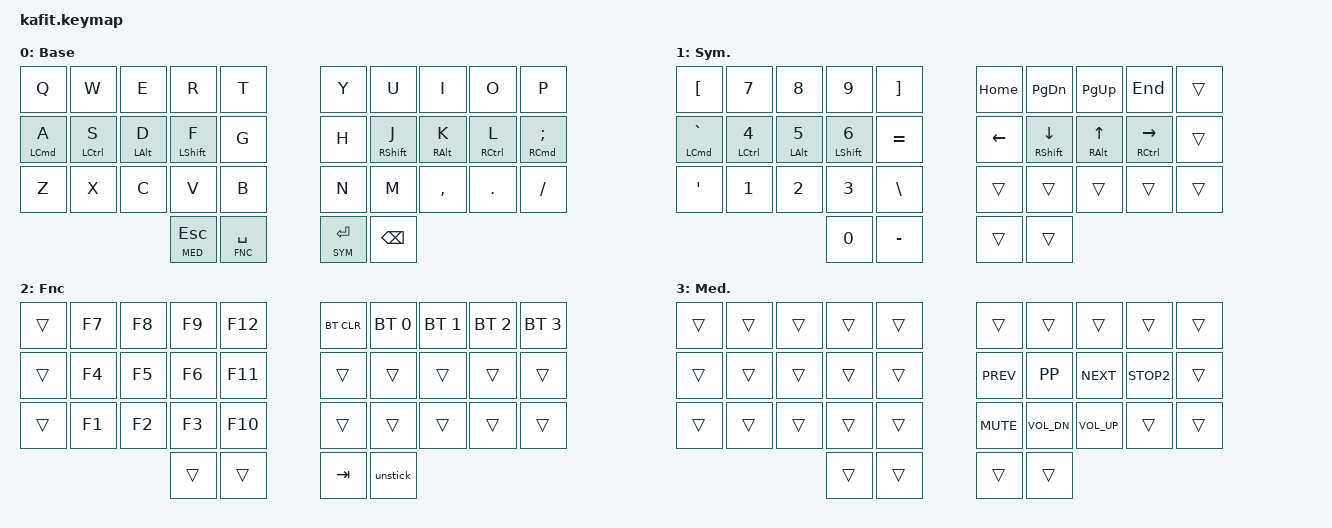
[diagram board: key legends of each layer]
#include <behaviors.dtsi>
#include <dt-bindings/zmk/keys.h>
#include <dt-bindings/zmk/bt.h>
#include <dt-bindings/zmk/outputs.h>

// Layer definitions
#define BASE 0
#define SYM 1
#define FNC 2
#define MED 3
// -----------------

/ {
	behaviors {
		// Enables holding the first mod-tap key
		// by performing a tap-release-hold sequence.
		// To use it: "&qt KEYCODE1 KEYCODE2"
		qt: quick_tap {
			compatible = "zmk,behavior-hold-tap";
			label = "QUICK_TAP";
			#binding-cells = <2>;
			flavor = "hold-preferred";
			tapping-term-ms = <200>;
			quick-tap-ms = <200>;
			bindings = <&kp>, <&kp>;
		};
	}; 

    macros {
		// my macro
	    unstick: unstick {
			label = "ZM_unstick";
			compatible = "zmk,behavior-macro";
			#binding-cells = <0>;
			bindings = <&macro_tap &kp Q &kp W &kp F &kp P &kp B &kp G &kp K &kp O>;
		};
	};

	keymap {
		compatible = "zmk,keymap";
		// Base alpha layer
		default_layer {
			label = "Base";
			bindings = <
			&kp Q      &kp W       &kp E       &kp R        &kp T           &kp Y &kp U         &kp I          &kp O       &kp P
			&qt LCMD A &qt LCTRL S &qt LALT D  &qt LSHIFT F &kp G           &kp H &qt RSHIFT J  &qt RALT K     &qt RCTRL L &qt RCMD SEMICOLON
			&kp Z      &kp X       &kp C       &kp V        &kp B           &kp N &kp M         &kp COMMA      &kp DOT     &kp SLASH
							                   &lt MED ESC  &lt FNC SPACE   &lt  SYM ENTER      &kp BACKSPACE
			>;
		};

		// Numbers, symbols, and arrow keys
		sym_layer {
			label = "Sym.";
			bindings = <
			&kp LBKT       &kp N7       &kp N8       &kp N9        &kp RBKT           &kp HOME  &kp PG_DN        &kp PG_UP    &kp END          &trans
			&qt LCMD GRAVE &qt LCTRL N4 &qt LALT N5  &qt LSHIFT N6 &kp EQUAL          &kp LEFT  &qt RSHIFT DOWN  &qt RALT UP  &qt RCTRL RIGHT  &trans
			&kp SQT        &kp N1       &kp N2       &kp N3        &kp BACKSLASH      &trans    &trans           &trans       &trans           &trans
							                         &kp N0        &kp MINUS          &trans    &trans
			>;
		};


		// Function keys with modifiers
		fnc_layer {
			label = "Fnc";
			bindings = <
			&trans     &kp F7       &kp F8       &kp F9        &kp F12       &bt BT_CLR &bt BT_SEL 0      &bt BT_SEL 1     &bt BT_SEL 2     &bt BT_SEL 3
			&trans     &kp F4       &kp F5       &kp F6        &kp F11       &trans     &trans            &trans           &trans           &trans
			&trans     &kp F1       &kp F2       &kp F3        &kp F10       &trans     &trans            &trans           &trans           &trans
							                     &trans        &trans        &kp TAB    &unstick
			>;
		};

		// Function keys with modifiers
		med_layer {
			label = "Med.";
			bindings = <
			&trans &trans &trans &trans &trans   &trans  &trans    &trans    &trans   &trans
			&trans &trans &trans &trans &trans   &kp K_PREV &kp K_PP     &kp K_NEXT   &kp K_STOP2 &trans
			&trans &trans &trans &trans &trans   &kp K_MUTE &kp K_VOL_DN &kp K_VOL_UP &trans   &trans
							     &trans &trans   &trans  &trans

			>;
		};
	};
};
